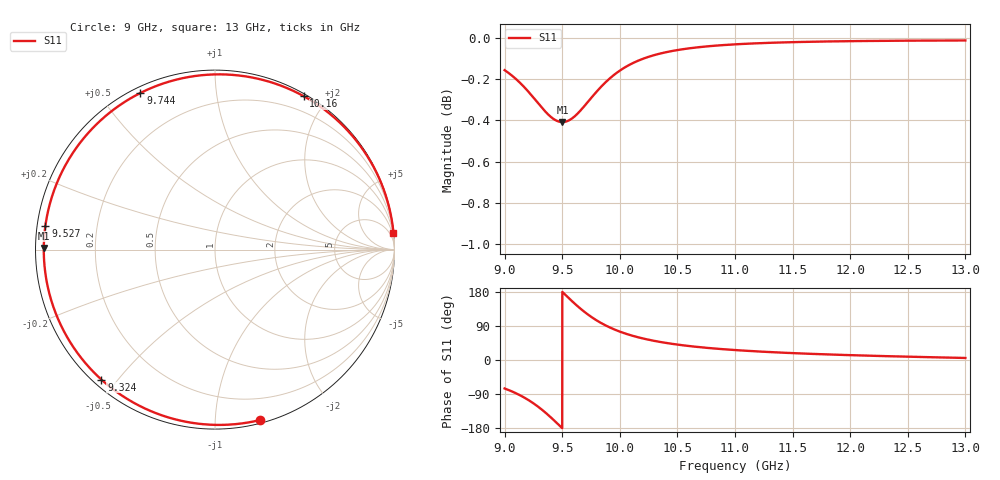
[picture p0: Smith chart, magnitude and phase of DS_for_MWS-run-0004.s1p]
! TOUCHSTONE file generated by CST DESIGN STUDIO
! Date and time: Tue Feb  4 13:33:43 2025
! Project name: C:\Work\MatlabApps\UnitCellOptimizationMatlab\CST\unitcell.cst
! Tree item: Tasks\Sweep1\SPara1\S-Parameters
! Header version: 2024
! Port assignment regex: !\s*Touchstone port\s*([0-9]+)\s*=\s*(CST MWS port|CST DES external port|CST DES block port)\s*(.+)\s* \(\"(.*)\"\)(\s*mode\s*([0-9]+))?.*
! Touchstone port assignment:
! Touchstone port 1 = CST DES external port 1 ("")
# GHz S MA R 50
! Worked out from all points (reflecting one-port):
!   4001 points, 9 GHz to 13 GHz, reference 50 ohm
!   lowest |S11| = -0.4 dB at 9.502 GHz (marker M1), VSWR 42.58, Z = 1.17 + j0.24 ohm
!   phase of S11 starts at -75 deg and turns -279 deg over the sweep
!   S11 on the Smith chart (normalised r, x): 9 GHz: 0.02, -1.30; 9.324 GHz: 0.02, -0.45; 9.527 GHz: 0.02, +0.07; 9.744 GHz: 0.02, +0.63; 10.16 GHz: 0.03, +1.73; 13 GHz: 0, +21
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9  0.9822 -75.2
9.085  0.9781 -85.8
9.187  0.9718 -102.0
9.258  0.9667 -116.0
9.324  0.9618 -131.1
9.371  0.9586 -143.2
9.42  0.956 -156.7
9.461  0.9546 -168.5
9.5  0.9541 -180.0
9.502  0.9541 179.4
9.527  0.9543 172.1
9.58  0.9558 156.7
9.64  0.9591 140.3
9.691  0.9626 127.5
9.744  0.9665 115.5
9.796  0.9703 105.1
9.854  0.9742 94.9
9.926  0.9784 84.1
10  0.982 74.9
10.159  0.9875 59.9
10.314  0.9908 49.6
10.5  0.9933 40.7
10.722  0.9952 33.0
11  0.9965 26.2
11.5  0.9978 18.2
12  0.9983 12.8
12.5  0.9986 8.7
13  0.9987 5.4
